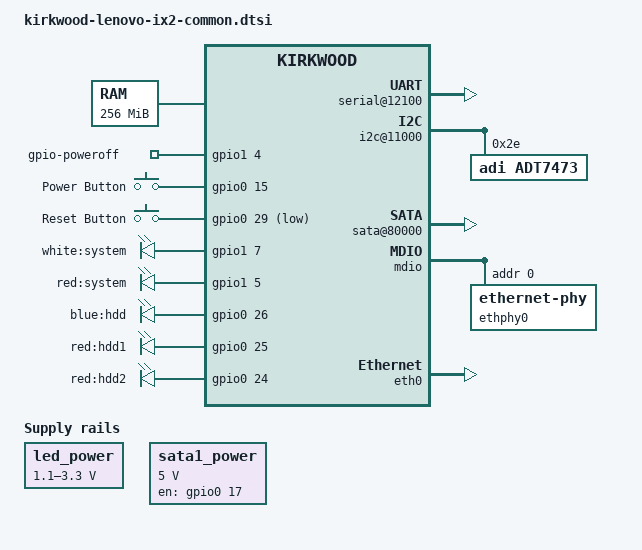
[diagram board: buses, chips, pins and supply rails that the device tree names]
/* 
 * Common Device tree file for the Lenovo / Iomega IX2 Devices
 *
 * Copyright (c) 2015-2016 bodhi <mibodhi@gmail.com>
 * Copyright (c) 2015      balbes150
 *
 * This file is licensed under the terms of the GNU General Public
 * License version 2.  This program is licensed "as is" without any
 * warranty of any kind, whether express or implied.
 */
// SPDX-License-Identifier: GPL-2.0-only
#include "kirkwood.dtsi"
#include "kirkwood-6282.dtsi"

/ {
	/* 256 MB RAM. */
	memory {
		device_type = "memory";
		reg = <0x00000000 0x10000000>;
	};

	chosen {
		bootargs = "console=ttyS0,115200n8 earlyprintk";
		stdout-path = &uart1;
	};

	ocp@f1000000 {
		pinctrl: pin-controller@10000 {

			pmx_power_off: pmx-power-off {
				marvell,pins = "mpp36";
				marvell,function = "gpio";
			};

			pmx_sata1_power: pmx-sata1-power {
				marvell,pins = "mpp17";
				marvell,function = "gpio";
			};

			pmx_btn_power: pmx-btn-power {
				marvell,pins = "mpp15";
				marvell,function = "gpio";
			};

			pmx_btn_reset: pmx-btn-reset {
				marvell,pins = "mpp29";
				marvell,function = "gpio";
			};

			pmx_led_sys_white: pmx-led-sys-white {
				marvell,pins = "mpp39";
				marvell,function = "gpio";
			};

			pmx_led_sys_red: pmx-led-sys-red {
				marvell,pins = "mpp37";
				marvell,function = "gpio";
			};

			pmx_led_hdd_blue: pmx-led-hdd-blue {
				marvell,pins = "mpp26";
				marvell,function = "gpio";
			};

			pmx_led_hdd1_red: pmx-led-hdd1-red {
				marvell,pins = "mpp25";
				marvell,function = "gpio";
			};

			pmx_led_hdd2_red: pmx-led-hdd2-red {
				marvell,pins = "mpp24";
				marvell,function = "gpio";
			};

			pmx_led_brightness: pmx-led-brightness {
				marvell,pins = "mpp40", "mpp41";
				marvell,function = "gpio";
			};
		};

		/* Second serial port is available on header "CN4". */
		serial@12100 {
			status = "okay";

		};

		rtc@10300 {
			status = "okay";

		};

		i2c@11000 {
			status = "okay";

			adt7473: adt7473@2e {
				compatible = "adi,adt7473";
				reg = <0x2e>;
			};

			/* Also something at 0x64. Maybe Marvell i2c debug? */
		};

		sata@80000 {
			status = "okay";

			nr-ports = <2>;
		};
	};

	gpio-poweroff {
		compatible = "gpio-poweroff";
		pinctrl-0 = <&pmx_power_off>;
		pinctrl-names = "default";
		gpios = <&gpio1 4 GPIO_ACTIVE_HIGH>;
	};

	gpio-keys {
		compatible = "gpio-keys";
		#address-cells = <1>;
		#size-cells = <0>;
		pinctrl-0 = <&pmx_btn_power &pmx_btn_reset>;
		pinctrl-names = "default";

		power {
			label = "Power Button";
			linux,code = <KEY_POWER>;
			gpios = <&gpio0 15 GPIO_ACTIVE_HIGH>;
		};

		reset {
			label = "Reset Button";
			linux,code = <KEY_RESTART>;
			gpios = <&gpio0 29 GPIO_ACTIVE_LOW>;
		};
	};

	gpio-leds {
		compatible = "gpio-leds";
		pinctrl-0 = <&pmx_led_sys_white &pmx_led_sys_red
			     &pmx_led_hdd_blue
			     &pmx_led_hdd1_red &pmx_led_hdd2_red>;
		pinctrl-names = "default";

		white-sys {
			label = "white:system";
			gpios = <&gpio1 7 GPIO_ACTIVE_HIGH>;
			default-state = "keep";
		};

		red-sys {
			label = "red:system";
			gpios = <&gpio1 5 GPIO_ACTIVE_HIGH>;
		};

		blue-hdd {
			label = "blue:hdd";
			gpios = <&gpio0 26 GPIO_ACTIVE_HIGH>;
		};

		red-hdd1 {
			label = "red:hdd1";
			gpios = <&gpio0 25 GPIO_ACTIVE_HIGH>;
		};

		red-hdd2 {
			label = "red:hdd2";
			gpios = <&gpio0 24 GPIO_ACTIVE_HIGH>;
		};
	};

	regulators {
		compatible = "simple-bus";
		#address-cells = <1>;
		#size-cells = <0>;
		pinctrl-0 = <&pmx_led_brightness
			     &pmx_sata1_power>;
		pinctrl-names = "default";

		led_power: regulator@1 {
			compatible = "regulator-gpio";
			reg = <1>;
			regulator-name = "LED brightness";
			regulator-type = "voltage";
			regulator-min-microvolt = <1100000>;
			regulator-max-microvolt = <3300000>;
			gpios = <&gpio1 9 GPIO_ACTIVE_HIGH
				 &gpio1 8 GPIO_ACTIVE_HIGH>;
			gpios_states = <1 1>;
			state = <3300000 0x3
				 2200000 0x1
				 1100000 0x0>;
			regulator-always-on;
			regulator-boot-on;
			enable-active-high;
		};

		sata1_power: regulator@2 {
			compatible = "regulator-fixed";
			reg = <2>;
			regulator-name = "SATA1 Power";
			regulator-min-microvolt = <5000000>;
			regulator-max-microvolt = <5000000>;
			regulator-always-on;
			regulator-boot-on;
			enable-active-high;
			gpio = <&gpio0 17 GPIO_ACTIVE_HIGH>;
		};
	};
};

&mdio {
	status = "okay";

	ethphy0: ethernet-phy@0 {
		reg = <0>;
	};
};

&eth0 {
	status = "okay";

	ethernet0-port@0 {
		phy-handle = <&ethphy0>;
	};
};
